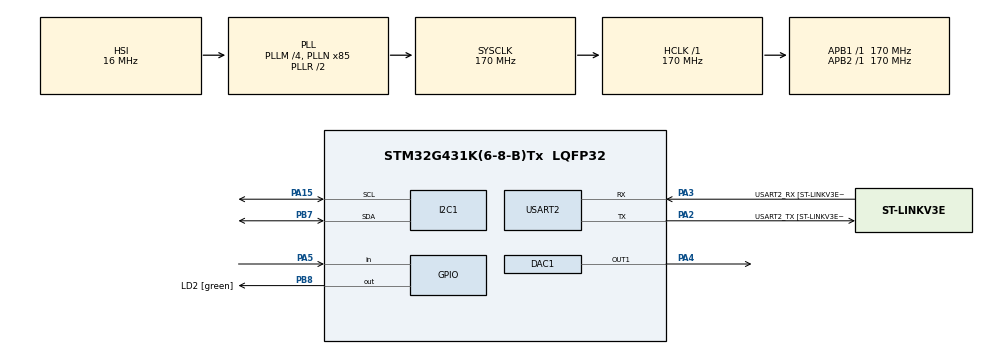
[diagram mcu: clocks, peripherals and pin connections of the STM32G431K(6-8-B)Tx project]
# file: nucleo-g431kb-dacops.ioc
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DAC1.DAC_HighFrequency_OUT1-DAC_OUT1=DAC_HIGH_FREQUENCY_INTERFACE_MODE_AUTOMATIC
DAC1.DAC_OutputBuffer-DAC_OUT1=DAC_OUTPUTBUFFER_DISABLE
DAC1.DAC_Trigger_OUT1-DAC_OUT1=DAC_TRIGGER_T6_TRGO
Dma.DAC1_CH1.0.Direction=DMA_MEMORY_TO_PERIPH
Dma.DAC1_CH1.0.EventEnable=DISABLE
Dma.DAC1_CH1.0.Instance=DMA1_Channel1
Dma.DAC1_CH1.0.MemDataAlignment=DMA_MDATAALIGN_HALFWORD
Dma.DAC1_CH1.0.MemInc=DMA_MINC_ENABLE
Dma.DAC1_CH1.0.Mode=DMA_CIRCULAR
Dma.DAC1_CH1.0.PeriphDataAlignment=DMA_PDATAALIGN_WORD
Dma.DAC1_CH1.0.PeriphInc=DMA_PINC_DISABLE
Dma.DAC1_CH1.0.Polarity=HAL_DMAMUX_REQ_GEN_RISING
Dma.DAC1_CH1.0.Priority=DMA_PRIORITY_HIGH
Dma.DAC1_CH1.0.RequestNumber=1
Dma.DAC1_CH1.0.SignalID=NONE
Dma.DAC1_CH1.0.SyncEnable=DISABLE
Dma.DAC1_CH1.0.SyncPolarity=HAL_DMAMUX_SYNC_NO_EVENT
Dma.DAC1_CH1.0.SyncRequestNumber=1
Dma.DAC1_CH1.0.SyncSignalID=NONE
Dma.Request0=DAC1_CH1
I2C1.OwnAddress=55
I2C1.Timing=0x40B285C2
Mcu.Family=STM32G4
Mcu.Name=STM32G431K(6-8-B)Tx
Mcu.Package=LQFP32
NVIC.DMA1_Channel1_IRQn=true\:0\:0\:false\:false\:true\:false\:true\:true
NVIC.I2C1_EV_IRQn=true\:0\:0\:false\:false\:true\:true\:true\:true
NVIC.PriorityGroup=NVIC_PRIORITYGROUP_4
PA13.GPIO_Label=T_SWDIO
PA13.Mode=Serial_Wire
PA13.Signal=SYS_JTMS-SWDIO
PA14.GPIO_Label=T_SWCLK
PA14.Mode=Serial_Wire
PA14.Signal=SYS_JTCK-SWCLK
PA15.GPIO_Pu=GPIO_NOPULL
PA15.GPIO_Speed=GPIO_SPEED_FREQ_MEDIUM
PA15.Mode=I2C
PA15.Signal=I2C1_SCL
PA2.GPIO_Label=USART2_TX [ST-LINKV3E_VCP_RX]
PA2.Mode=Asynchronous
PA2.Signal=USART2_TX
PA3.GPIO_Label=USART2_RX [ST-LINKV3E_VCP_TX]
PA3.Mode=Asynchronous
PA3.Signal=USART2_RX
PA4.Signal=COMP_DAC11_group
PA5.GPIO_PuPd=GPIO_PULLUP
PA5.Signal=GPIO_Input
PB3.GPIO_Label=T_SWO
PB3.Signal=SYS_JTDO-SWO
PB7.GPIO_Pu=GPIO_NOPULL
PB7.GPIO_Speed=GPIO_SPEED_FREQ_MEDIUM
PB7.Mode=I2C
PB7.Signal=I2C1_SDA
PB8-BOOT0.GPIO_Label=LD2 [green]
PB8-BOOT0.Signal=GPIO_Output
ProjectManager.HeapSize=0x200
ProjectManager.StackSize=0x400
ProjectManager.TargetToolchain=STM32CubeIDE
RCC.ADC12Freq_Value=170000000
RCC.AHBFreq_Value=170000000
RCC.APB1Freq_Value=170000000
RCC.APB1TimFreq_Value=170000000
RCC.APB2Freq_Value=170000000
RCC.APB2TimFreq_Value=170000000
RCC.CortexFreq_Value=170000000
RCC.EXTERNAL_CLOCK_VALUE=12288000
RCC.HCLKFreq_Value=170000000
RCC.HSE_VALUE=8000000
RCC.HSI48_VALUE=48000000
RCC.HSI_VALUE=16000000
RCC.LSE_VALUE=32768
RCC.PLLM=RCC_PLLM_DIV4
RCC.PLLN=85
RCC.SYSCLKFreq_VALUE=170000000
RCC.SYSCLKSource=RCC_SYSCLKSOURCE_PLLCLK
RCC.USBFreq_Value=170000000
RCC.VCOOutputFreq_Value=340000000
SH.COMP_DAC11_group.0=DAC1_OUT1,DAC_OUT1
TIM6.PeriodNoDither=16 - 1
TIM6.Prescaler=17 - 1
TIM6.TIM_MasterOutputTrigger=TIM_TRGO_UPDATE
USART2.VirtualMode-Asynchronous=VM_ASYNC
USART2.WordLength=WORDLENGTH_8B
VP_SYS_VS_DBSignals.Mode=DisableDeadBatterySignals
VP_TIM6_VS_ClockSourceINT.Mode=Enable_Timer
board=NUCLEO-G431KB

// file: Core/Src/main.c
/* USER CODE BEGIN Header */
/**
  ******************************************************************************
  * @file           : main.c
  * @brief          : Main program body
  ******************************************************************************
  * @attention
  *
  * Copyright (c) 2024 STMicroelectronics.
  * All rights reserved.
  *
  * This software is licensed under terms that can be found in the LICENSE file
  * in the root directory of this software component.
  * If no LICENSE file comes with this software, it is provided AS-IS.
  *
  ******************************************************************************
  */
/* USER CODE END Header */
#include "main.h"

/* USER CODE BEGIN Includes */
#include <math.h>
#include <string.h>
#include <stdio.h>
#include <stdarg.h>
#include <inttypes.h>

/* USER CODE END Includes */

/* USER CODE BEGIN PD */
#define TAU 6.2831853071795864769252867665590
#define kTAU 0.0062831853071795864769252867665590
#define DMASIZE 300

/* USER CODE END PD */

DAC_HandleTypeDef hdac1;
DMA_HandleTypeDef hdma_dac1_ch1;

I2C_HandleTypeDef hi2c1;

TIM_HandleTypeDef htim6;

UART_HandleTypeDef huart2;

/* USER CODE BEGIN PV */
static uint16_t dmabuffer[DMASIZE];
static uint8_t i2cbuffer[8];
static uint32_t mHz = 1022;

/* USER CODE END PV */

void SystemClock_Config(void);
static void MX_GPIO_Init(void);
static void MX_DMA_Init(void);
static void MX_USART2_UART_Init(void);
static void MX_DAC1_Init(void);
static void MX_TIM6_Init(void);
static void MX_I2C1_Init(void);

/* USER CODE BEGIN 0 */

uint32_t scale[133] = {
	1022,1083,1147,1215,1288,1364,1445,1531,1622,1719,1821,1929,2044,2165,2294,2431,
	2575,2728,2891,3062,3245,3437,3642,3858,4088,4331,4589,4861,5150,5457,5781,6125,
	6489,6875,7284,7717,8176,8662,9177,9723,10301,10913,11562,12250,12978,13750,14568,
	15434,16352,17324,18354,19445,20602,21827,23125,24500,25957,27500,29135,30868,32703,
	34648,36708,38891,41203,43654,46249,48999,51913,55000,58270,61735,65406,69296,73416,
	77782,82407,87307,92499,97999,103826,110000,116541,123471,130813,138591,146832,155563,
	164814,174614,184997,195998,207652,220000,233082,246942,261626,277183,293665,311127,
	329628,349228,369994,391995,415305,440000,466164,493883,523251,554365,587330,622254,
	659255,698456,739989,783991,830609,880000,932328,987767,1046502,1108731,1174659,
	1244508,1318510,1396913,1479978,1567982,1661219,1760000,1864655,1975533,2093005};

// Populate buffer w/one cycle of sine samples at amplitudes [minAmpl, maxAmpl]
void poplDMABuffer(uint16_t buffer[], float minAmpl, float maxAmpl) {
	double voltage_to_dac = 4095.0 / 3.3;
	double step = TAU / DMASIZE;

	for (int i=0; i<DMASIZE; ++i) {
		double X = sinf(step * i)*(maxAmpl - minAmpl) + minAmpl + maxAmpl;
		buffer[i] = (uint16_t)(X * 0.5 * voltage_to_dac);
	}
}

// Translate frequency into the corresponding DMA timer period
void setDMAFrequency(uint32_t _mHz) {
	double hz = (double)_mHz * 1e-3;
	uint32_t period = (uint32_t)round(10e6 / (hz * DMASIZE)) - 1;
	__HAL_TIM_SET_AUTORELOAD(&htim6, period);
	mHz = _mHz;
}

void logHALError(HAL_StatusTypeDef err) {
	static uint32_t errcnt = 0;
	static char errstr[128];

    switch (err)
    {
    case HAL_OK: sprintf(errstr, "%" PRIu32 " HAL_OK\n\r", errcnt); break;
    case HAL_ERROR: sprintf(errstr, "%" PRIu32 " HAL_ERROR\n\r", errcnt); break;
    case HAL_BUSY: sprintf(errstr, "%" PRIu32 " HAL_BUSY\n\r", errcnt); break;
    case HAL_TIMEOUT: sprintf(errstr, "%" PRIu32 " HAL_TIMEOUT\n\r", errcnt); break;
    default: sprintf(errstr, "%" PRIu32 " Unknown HAL ERROR: %" PRIu32 "\n\r", errcnt, (uint32_t)err);
    }
	HAL_UART_Transmit(&huart2, (uint8_t*)errstr, (uint16_t)strlen(errstr), 1000);
	errcnt += 1;
}

void logI2CError(uint32_t errcode) {
	static uint32_t i2cerrcnt = 0;
	static char i2cerrstr[128];

	switch (errcode)
	{
	case HAL_I2C_ERROR_NONE: sprintf(i2cerrstr, "%" PRIu32 " I2C: No Error \n\r", i2cerrcnt); break;
	case HAL_I2C_ERROR_BERR: sprintf(i2cerrstr, "%" PRIu32 " I2C: BERR Error \n\r", i2cerrcnt); break;
	case HAL_I2C_ERROR_ARLO: sprintf(i2cerrstr, "%" PRIu32 " I2C: ARLO Error \n\r", i2cerrcnt); break;
	case HAL_I2C_ERROR_AF: sprintf(i2cerrstr, "%" PRIu32 " I2C: ACKF Error \n\r", i2cerrcnt); break;
	case HAL_I2C_ERROR_OVR: sprintf(i2cerrstr, "%" PRIu32 " I2C: OVR Error \n\r", i2cerrcnt); break;
	case HAL_I2C_ERROR_DMA: sprintf(i2cerrstr, "%" PRIu32 " I2C: DMA Transfer Error \n\r", i2cerrcnt); break;
	case HAL_I2C_ERROR_TIMEOUT: sprintf(i2cerrstr, "%" PRIu32 " I2C: Timeout Error \n\r", i2cerrcnt); break;
	case HAL_I2C_ERROR_SIZE: sprintf(i2cerrstr, "%" PRIu32 " I2C: Size Management Error \n\r", i2cerrcnt); break;
	case HAL_I2C_ERROR_DMA_PARAM: sprintf(i2cerrstr, "%" PRIu32 " I2C: DMA Parameter Error \n\r", i2cerrcnt); break;
    default: sprintf(i2cerrstr, "%" PRIu32 " Unknown I2C ERROR: %" PRIu32 "\n\r", i2cerrcnt, errcode);
	}

	HAL_UART_Transmit(&huart2, (uint8_t*)i2cerrstr, (uint16_t)strlen(i2cerrstr), 1000);
	i2cerrcnt += 1;
}

void uart_printf(const char* fmt, ...) {
    static char sbuffer[128];

    va_list args;
    va_start(args, fmt);
    vsnprintf(sbuffer, 128, fmt, args);
    va_end (args);

	HAL_UART_Transmit(&huart2, (const uint8_t*)sbuffer, (uint16_t)strlen(sbuffer), HAL_MAX_DELAY);
}

void HAL_I2C_AddrCallback(I2C_HandleTypeDef *p_hi2c, uint8_t TransferDirection, uint16_t AddrMatchCode) {
	HAL_StatusTypeDef err;
	if (TransferDirection == I2C_DIRECTION_TRANSMIT) {
		uart_printf("HAL_I2C_AddrCallback: I2C_DIRECTION_TRANSMIT : %u \n\r", AddrMatchCode);
		err = HAL_I2C_Slave_Seq_Receive_IT(&hi2c1, i2cbuffer, 4, I2C_FIRST_AND_LAST_FRAME);
		if (err) {
			logHALError(err);
			logI2CError(hi2c1.ErrorCode);
		}
	}
	else {
		uart_printf("HAL_I2C_AddrCallback: I2C_DIRECTION_RECEIVE : (%u) : [", AddrMatchCode);
		for (int i=0, j=24; i < 4; ++i, j -= 8) {
			i2cbuffer[i] = (uint8_t)(0xFF & (mHz >> j));
			if (i < 3) uart_printf("%u, ", i2cbuffer[i]);
			else uart_printf("%u] : %u \n\r", i2cbuffer[i], mHz);
		}

		err = HAL_I2C_Slave_Seq_Transmit_IT(&hi2c1, i2cbuffer, sizeof(uint32_t), I2C_FIRST_AND_LAST_FRAME);
		if (err) {
			logHALError(err);
			logI2CError(hi2c1.ErrorCode);
		}
	}
}

void HAL_I2C_ListenCpltCallback(I2C_HandleTypeDef *hi2c) {
	HAL_StatusTypeDef err = HAL_I2C_EnableListen_IT (&hi2c1);
	if (err) {
		logHALError(err);
		logI2CError(hi2c1.ErrorCode);
	}
}

void HAL_I2C_SlaveRxCpltCallback(I2C_HandleTypeDef *hi2c) {
	uint32_t _mHz = 0;
	uart_printf("HAL_I2C_SlaveRxCpltCallback : [");
	for (int i=0; i < sizeof(uint32_t); ++i) {
		_mHz = (_mHz << 8) | i2cbuffer[i];
		if (i < 3) uart_printf("%u, ", i2cbuffer[i]);
		else uart_printf("%u] : %lu \n\r", i2cbuffer[i], _mHz);
	}

	// Silently drops frequencies outside [0, 2.93K] Hz
	if (0 < _mHz && _mHz <= 2093005) setDMAFrequency(_mHz);
}

void HAL_I2C_SlaveTxCpltCallback(I2C_HandleTypeDef *hi2c) {
	uart_printf("HAL_I2C_SlaveTxCpltCallback \n\r");
}

//uint32_t getSineIndex(uint32_t msec, float omega, float minAmpl, float maxAmpl) {
//    float X = cosf(omega * (float)msec * 1e-3);
//    X = X*(maxAmpl - minAmpl) + maxAmpl + minAmpl;
//    return (uint32_t)(X * 0.5 * voltage_to_dac);
//}

/* USER CODE END 0 */

int main(void)
{

  /* MCU Configuration--------------------------------------------------------*/

  /* Reset of all peripherals, Initializes the Flash interface and the Systick. */
  HAL_Init();

  /* Configure the system clock */
  SystemClock_Config();

  /* Initialize all configured peripherals */
  MX_GPIO_Init();
  MX_DMA_Init();
  MX_USART2_UART_Init();
  MX_DAC1_Init();
  MX_TIM6_Init();
  MX_I2C1_Init();
  /* USER CODE BEGIN 2 */

  poplDMABuffer(dmabuffer, 0.1, 2.8);
  if (HAL_TIM_Base_Start(&htim6) != HAL_OK)
	  Error_Handler();

  setDMAFrequency(1022);
  if (HAL_DAC_Start_DMA(&hdac1, DAC_CHANNEL_1, (uint32_t *)&dmabuffer[0], DMASIZE, DAC_ALIGN_12B_R) != HAL_OK)
	  Error_Handler();

  if (HAL_I2C_EnableListen_IT (&hi2c1) != HAL_OK)
	  Error_Handler();

//  uint32_t mHz = 24500;
//  float omega = (float)mHz * kTAU;
//  char sbuffer[128];
//  uint8_t tstbyte[1];

//  uint32_t tentry = HAL_GetTick();
//  uint32_t tlastreport = tentry;
//  uint32_t nsamples = 0;
//  uint32_t ii = 0;

  /* USER CODE END 2 */

  /* Infinite loop */
  /* USER CODE BEGIN WHILE */
  while (1) {
//    HAL_StatusTypeDef err;
//  	memset(i2cdata, 0, 4);
//
//	if ( (err = HAL_I2C_Slave_Receive(&hi2c1, i2cdata, 4, 2500)) ) {
//		if (hi2c1.ErrorCode != HAL_I2C_ERROR_TIMEOUT) logI2CError(hi2c1.ErrorCode);
//		continue;
//	}
//
//	int32_t mHz = 0;
//	for (int i=0; i<4; ++i)
//		mHz |= (i2cdata[i] << ((3-i)*8));
//
//    // Silently drops frequencies outside [0, 2.93K]
//	sprintf(sbuffer, "mHz: %" PRIu32 " \n\r", mHz);
//	HAL_UART_Transmit(&huart2, (uint8_t*)sbuffer, (uint16_t)strlen(sbuffer), HAL_MAX_DELAY);
//	if (mHz >= 0 && mHz <= 2093005) setDMAFrequency(mHz);

////	  uint32_t msec = HAL_GetTick();
////	  uint32_t dacidx = getSineIndex(msec, omega, 0.0, 3.3);
////	  HAL_DAC_SetValue(&hdac1, DAC_CHANNEL_1, DAC_ALIGN_12B_R, dacidx);
//
//	  nsamples += 1;
//	  if (HAL_GetTick() - tlastreport > 3e3) {
//		  float hz = (float)scale[ii] * 1e-3;
//		  uint32_t period = (uint32_t)round(10e6 / (hz * DMASIZE)) - 1;
//
//		  __HAL_TIM_SET_AUTORELOAD(&htim6, period);
//
//		  float elapsed = (float)(HAL_GetTick() - tentry) * 1e-3;
//          float blkelapsed = (HAL_GetTick() - tlastreport) * 1e-3;
//          sprintf(sbuffer, "%.1fs, %.2fK loops/sec : %.2fHz (%u)\n\r", elapsed, (float)nsamples * 1e-3 / blkelapsed, hz, (uint16_t)period);
//		  HAL_UART_Transmit(&huart2, (uint8_t*)sbuffer, (uint16_t)strlen(sbuffer), 1000);
//          tlastreport = HAL_GetTick();
//          nsamples = 0;
//
//		  ii = (ii+1) % 133;
//	  }
//
////	  dacidx = dacidx == 0 ? 2048 : 0;
////	  uint16_t cntr = __HAL_TIM_GET_COUNTER(&htim6);
////	  sprintf(sbuffer, "Hello %u \n\r", cntr);
////	  HAL_UART_Transmit(&huart2, (uint8_t*)sbuffer, (uint16_t)strlen(sbuffer), 1000);
////	  HAL_Delay(500);

    /* USER CODE END WHILE */

  }
}

void SystemClock_Config(void)
{
  RCC_OscInitTypeDef RCC_OscInitStruct = {0};
  RCC_ClkInitTypeDef RCC_ClkInitStruct = {0};

  /** Configure the main internal regulator output voltage
  */
  HAL_PWREx_ControlVoltageScaling(PWR_REGULATOR_VOLTAGE_SCALE1_BOOST);

  /** Initializes the RCC Oscillators according to the specified parameters
  * in the RCC_OscInitTypeDef structure.
  */
  RCC_OscInitStruct.OscillatorType = RCC_OSCILLATORTYPE_HSI;
  RCC_OscInitStruct.HSIState = RCC_HSI_ON;
  RCC_OscInitStruct.HSICalibrationValue = RCC_HSICALIBRATION_DEFAULT;
  RCC_OscInitStruct.PLL.PLLState = RCC_PLL_ON;
  RCC_OscInitStruct.PLL.PLLSource = RCC_PLLSOURCE_HSI;
  RCC_OscInitStruct.PLL.PLLM = RCC_PLLM_DIV4;
  RCC_OscInitStruct.PLL.PLLN = 85;
  RCC_OscInitStruct.PLL.PLLP = RCC_PLLP_DIV2;
  RCC_OscInitStruct.PLL.PLLQ = RCC_PLLQ_DIV2;
  RCC_OscInitStruct.PLL.PLLR = RCC_PLLR_DIV2;
  if (HAL_RCC_OscConfig(&RCC_OscInitStruct) != HAL_OK)
  {
    Error_Handler();
  }

  /** Initializes the CPU, AHB and APB buses clocks
  */
  RCC_ClkInitStruct.ClockType = RCC_CLOCKTYPE_HCLK|RCC_CLOCKTYPE_SYSCLK
                              |RCC_CLOCKTYPE_PCLK1|RCC_CLOCKTYPE_PCLK2;
  RCC_ClkInitStruct.SYSCLKSource = RCC_SYSCLKSOURCE_PLLCLK;
  RCC_ClkInitStruct.AHBCLKDivider = RCC_SYSCLK_DIV1;
  RCC_ClkInitStruct.APB1CLKDivider = RCC_HCLK_DIV1;
  RCC_ClkInitStruct.APB2CLKDivider = RCC_HCLK_DIV1;

  if (HAL_RCC_ClockConfig(&RCC_ClkInitStruct, FLASH_LATENCY_4) != HAL_OK)
  {
    Error_Handler();
  }
}

static void MX_DAC1_Init(void)
{

  DAC_ChannelConfTypeDef sConfig = {0};

  /** DAC Initialization
  */
  hdac1.Instance = DAC1;
  if (HAL_DAC_Init(&hdac1) != HAL_OK)
  {
    Error_Handler();
  }

  /** DAC channel OUT1 config
  */
  sConfig.DAC_HighFrequency = DAC_HIGH_FREQUENCY_INTERFACE_MODE_AUTOMATIC;
  sConfig.DAC_DMADoubleDataMode = DISABLE;
  sConfig.DAC_SignedFormat = DISABLE;
  sConfig.DAC_SampleAndHold = DAC_SAMPLEANDHOLD_DISABLE;
  sConfig.DAC_Trigger = DAC_TRIGGER_T6_TRGO;
  sConfig.DAC_Trigger2 = DAC_TRIGGER_NONE;
  sConfig.DAC_OutputBuffer = DAC_OUTPUTBUFFER_DISABLE;
  sConfig.DAC_ConnectOnChipPeripheral = DAC_CHIPCONNECT_EXTERNAL;
  sConfig.DAC_UserTrimming = DAC_TRIMMING_FACTORY;
  if (HAL_DAC_ConfigChannel(&hdac1, &sConfig, DAC_CHANNEL_1) != HAL_OK)
  {
    Error_Handler();
  }

}

static void MX_I2C1_Init(void)
{

  hi2c1.Instance = I2C1;
  hi2c1.Init.Timing = 0x30A0A7FB;
  hi2c1.Init.OwnAddress1 = 110;
  hi2c1.Init.AddressingMode = I2C_ADDRESSINGMODE_7BIT;
  hi2c1.Init.DualAddressMode = I2C_DUALADDRESS_DISABLE;
  hi2c1.Init.OwnAddress2 = 0;
  hi2c1.Init.OwnAddress2Masks = I2C_OA2_NOMASK;
  hi2c1.Init.GeneralCallMode = I2C_GENERALCALL_DISABLE;
  hi2c1.Init.NoStretchMode = I2C_NOSTRETCH_DISABLE;
  if (HAL_I2C_Init(&hi2c1) != HAL_OK)
  {
    Error_Handler();
  }

  /** Configure Analogue filter
  */
  if (HAL_I2CEx_ConfigAnalogFilter(&hi2c1, I2C_ANALOGFILTER_ENABLE) != HAL_OK)
  {
    Error_Handler();
  }

  /** Configure Digital filter
  */
  if (HAL_I2CEx_ConfigDigitalFilter(&hi2c1, 0) != HAL_OK)
  {
    Error_Handler();
  }

}

static void MX_TIM6_Init(void)
{

  TIM_MasterConfigTypeDef sMasterConfig = {0};

  htim6.Instance = TIM6;
  htim6.Init.Prescaler = 17 - 1;
  htim6.Init.CounterMode = TIM_COUNTERMODE_UP;
  htim6.Init.Period = 15;
  htim6.Init.AutoReloadPreload = TIM_AUTORELOAD_PRELOAD_DISABLE;
  if (HAL_TIM_Base_Init(&htim6) != HAL_OK)
  {
    Error_Handler();
  }
  sMasterConfig.MasterOutputTrigger = TIM_TRGO_UPDATE;
  sMasterConfig.MasterSlaveMode = TIM_MASTERSLAVEMODE_DISABLE;
  if (HAL_TIMEx_MasterConfigSynchronization(&htim6, &sMasterConfig) != HAL_OK)
  {
    Error_Handler();
  }

}

static void MX_USART2_UART_Init(void)
{

  huart2.Instance = USART2;
  huart2.Init.BaudRate = 115200;
  huart2.Init.WordLength = UART_WORDLENGTH_8B;
  huart2.Init.StopBits = UART_STOPBITS_1;
  huart2.Init.Parity = UART_PARITY_NONE;
  huart2.Init.Mode = UART_MODE_TX_RX;
  huart2.Init.HwFlowCtl = UART_HWCONTROL_NONE;
  huart2.Init.OverSampling = UART_OVERSAMPLING_16;
  huart2.Init.OneBitSampling = UART_ONE_BIT_SAMPLE_DISABLE;
  huart2.Init.ClockPrescaler = UART_PRESCALER_DIV1;
  huart2.AdvancedInit.AdvFeatureInit = UART_ADVFEATURE_NO_INIT;
  if (HAL_UART_Init(&huart2) != HAL_OK)
  {
    Error_Handler();
  }
  if (HAL_UARTEx_SetTxFifoThreshold(&huart2, UART_TXFIFO_THRESHOLD_1_8) != HAL_OK)
  {
    Error_Handler();
  }
  if (HAL_UARTEx_SetRxFifoThreshold(&huart2, UART_RXFIFO_THRESHOLD_1_8) != HAL_OK)
  {
    Error_Handler();
  }
  if (HAL_UARTEx_DisableFifoMode(&huart2) != HAL_OK)
  {
    Error_Handler();
  }

}

static void MX_DMA_Init(void)
{

  /* DMA controller clock enable */
  __HAL_RCC_DMAMUX1_CLK_ENABLE();
  __HAL_RCC_DMA1_CLK_ENABLE();

  /* DMA interrupt init */
  /* DMA1_Channel1_IRQn interrupt configuration */
  HAL_NVIC_SetPriority(DMA1_Channel1_IRQn, 0, 0);
  HAL_NVIC_EnableIRQ(DMA1_Channel1_IRQn);

}

static void MX_GPIO_Init(void)
{
  GPIO_InitTypeDef GPIO_InitStruct = {0};

  /* GPIO Ports Clock Enable */
  __HAL_RCC_GPIOA_CLK_ENABLE();
  __HAL_RCC_GPIOB_CLK_ENABLE();

  /*Configure GPIO pin Output Level */
  HAL_GPIO_WritePin(LD2_GPIO_Port, LD2_Pin, GPIO_PIN_RESET);

  /*Configure GPIO pin : PA5 */
  GPIO_InitStruct.Pin = GPIO_PIN_5;
  GPIO_InitStruct.Mode = GPIO_MODE_INPUT;
  GPIO_InitStruct.Pull = GPIO_PULLUP;
  HAL_GPIO_Init(GPIOA, &GPIO_InitStruct);

  /*Configure GPIO pin : LD2_Pin */
  GPIO_InitStruct.Pin = LD2_Pin;
  GPIO_InitStruct.Mode = GPIO_MODE_OUTPUT_PP;
  GPIO_InitStruct.Pull = GPIO_NOPULL;
  GPIO_InitStruct.Speed = GPIO_SPEED_FREQ_LOW;
  HAL_GPIO_Init(LD2_GPIO_Port, &GPIO_InitStruct);

}

void Error_Handler(void)
{
  __disable_irq();
  while (1)
  {
  }
}
